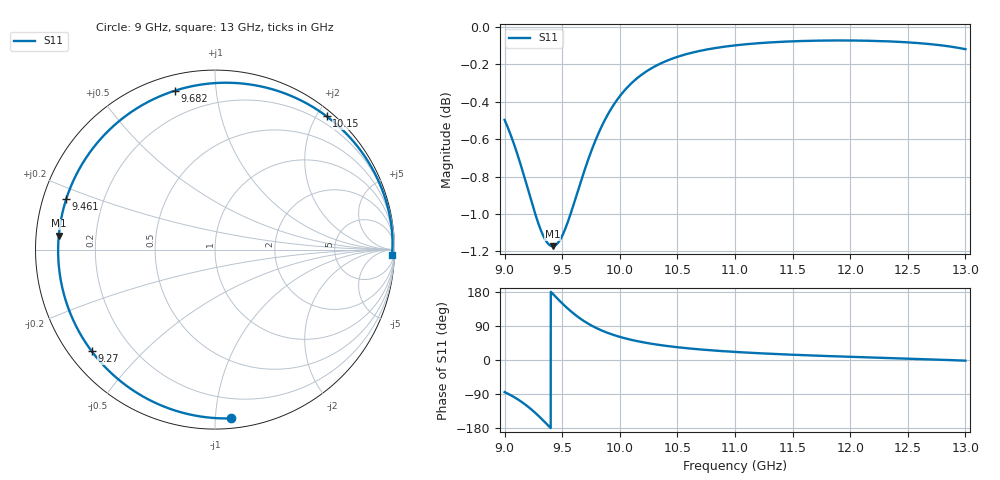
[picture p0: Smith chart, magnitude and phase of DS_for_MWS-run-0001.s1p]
! TOUCHSTONE file generated by CST DESIGN STUDIO
! Date and time: Tue Feb  4 14:00:08 2025
! Project name: C:\Work\MatlabApps\UnitCellOptimizationMatlab\CST\unitcell.cst
! Tree item: Tasks\Sweep1\SPara1\S-Parameters
! Header version: 2024
! Port assignment regex: !\s*Touchstone port\s*([0-9]+)\s*=\s*(CST MWS port|CST DES external port|CST DES block port)\s*(.+)\s* \(\"(.*)\"\)(\s*mode\s*([0-9]+))?.*
! Touchstone port assignment:
! Touchstone port 1 = CST DES external port 1 ("")
# GHz S MA R 50
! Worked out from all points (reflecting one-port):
!   4001 points, 9 GHz to 13 GHz, reference 50 ohm
!   lowest |S11| = -1.2 dB at 9.417 GHz (marker M1), VSWR 14.85, Z = 3.37 + j2.2 ohm
!   phase of S11 starts at -85 deg and turns -277 deg over the sweep
!   S11 on the Smith chart (normalised r, x): 9 GHz: 0.06, -1.10; 9.27 GHz: 0.07, -0.36; 9.461 GHz: 0.07, +0.16; 9.682 GHz: 0.07, +0.78; 10.15 GHz: 0.09, +2.14; 13 GHz: 24, -54
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9  0.9444 -84.7
9.079  0.9309 -97.2
9.147  0.9171 -110.4
9.209  0.9035 -124.5
9.27  0.8905 -140.5
9.31  0.8832 -152.0
9.347  0.878 -163.1
9.382  0.8749 -174.0
9.417  0.8738 174.9
9.461  0.8754 161.2
9.5  0.8794 149.5
9.545  0.8862 136.6
9.589  0.8945 125.1
9.634  0.9035 114.3
9.682  0.9132 104.1
9.753  0.9265 91.1
9.837  0.9398 78.7
9.916  0.9499 69.2
10  0.9582 61.0
10.147  0.9687 50.0
10.307  0.9761 41.4
10.5  0.9817 33.7
10.723  0.9857 27.2
11  0.9887 21.3
11.5  0.9911 13.9
12  0.9916 8.4
12.5  0.9905 3.6
13  0.9864 -1.8
